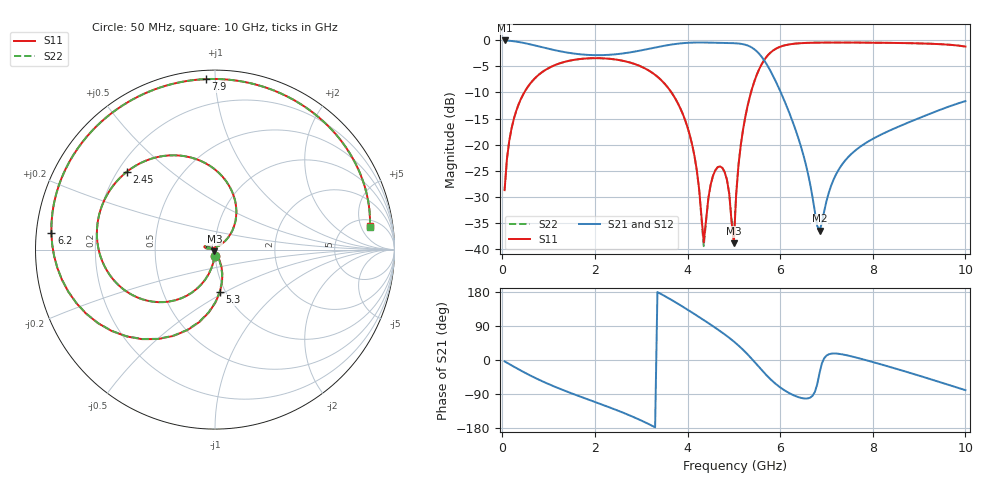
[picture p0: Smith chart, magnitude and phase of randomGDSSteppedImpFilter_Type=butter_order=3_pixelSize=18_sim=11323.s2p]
! freq	dB(S11)	phase(S11)	dB(S12)	phase(S12)
!  dB(S21)	phase(S21)	dB(S22)	phase(S22)
!S-par simulation data
#  GHz  S  DB  R 50
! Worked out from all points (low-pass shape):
!   200 points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, 50 MHz to 10 GHz, reference 50 ohm
!   highest |S21| = -0.01 dB at 50 MHz (marker M1); lowest = -36.6 dB at 6.85 GHz (marker M2)
!   |S21| within 3 dB of the highest: start of sweep to 5.587 GHz
!   lowest |S11| = -39.0 dB at 5 GHz (marker M3), VSWR 1.02, Z = 49.6 - j1.05 ohm
!   |S11| at or under -10 dB: start of sweep to 475.2 MHz; 3.653 GHz to 5.37 GHz (1.717 GHz wide, 38.1 % of centre)
!   |S22| runs from -39.5 to -0.4 dB; largest |S21 - S12| = 0
!   S11 on the Smith chart (normalised r, x): 50 MHz: 0.99, -0.07; 2.45 GHz: 0.24, +0.36; 5.3 GHz: 0.94, -0.47; 6.2 GHz: 0.04, +0.05; 7.9 GHz: 0.05, +0.95; 10 GHz: 6.71, +7.31
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0.05  -28.76 -93.7  -0.01 -3.6  -0.01 -3.6  -28.76 -93.7
0.2  -16.90 -104.7  -0.11 -14.2  -0.11 -14.2  -16.90 -104.7
0.5  -9.61 -124.8  -0.55 -34.3  -0.55 -34.3  -9.61 -124.8
1.75  -3.51 170.0  -2.72 -99.6  -2.72 -99.6  -3.51 170.0
2.45  -3.67 138.5  -2.66 -131.3  -2.66 -131.3  -3.67 138.5
3.4  -7.37 87.2  -1.19 176.0  -1.19 176.0  -7.37 87.1
4.05  -18.23 45.2  -0.44 129.0  -0.44 129.0  -18.24 44.9
4.35  -38.79 106.8  -0.40 105.4  -0.40 105.4  -39.52 107.0
4.5  -27.67 171.4  -0.43 93.3  -0.43 93.3  -27.71 172.9
4.7  -24.20 163.7  -0.47 76.6  -0.47 76.6  -24.20 164.8
4.85  -26.73 156.5  -0.49 63.3  -0.49 63.3  -26.71 158.1
5  -38.99 -109.8  -0.53 48.8  -0.53 48.8  -38.02 -112.3
5.05  -29.65 -70.2  -0.56 43.7  -0.56 43.7  -29.50 -72.7
5.3  -12.46 -83.4  -0.99 14.5  -0.99 14.5  -12.46 -83.8
5.7  -3.22 -135.5  -4.45 -39.6  -4.45 -39.6  -3.22 -135.7
6.2  -0.76 174.3  -13.98 -87.7  -13.98 -87.7  -0.76 174.3
6.7  -0.45 143.7  -30.16 -94.3  -30.16 -94.3  -0.44 143.6
6.85  -0.42 136.3  -36.57 -34.7  -36.57 -34.7  -0.42 136.2
7.25  -0.41 118.6  -25.03 16.6  -25.03 16.6  -0.41 118.5
7.9  -0.43 93.1  -19.43 -2.0  -19.43 -2.0  -0.43 93.0
8.35  -0.47 76.2  -17.37 -17.6  -17.37 -17.6  -0.47 76.2
10  -1.18 8.5  -11.66 -79.6  -11.66 -79.6  -1.18 8.5
